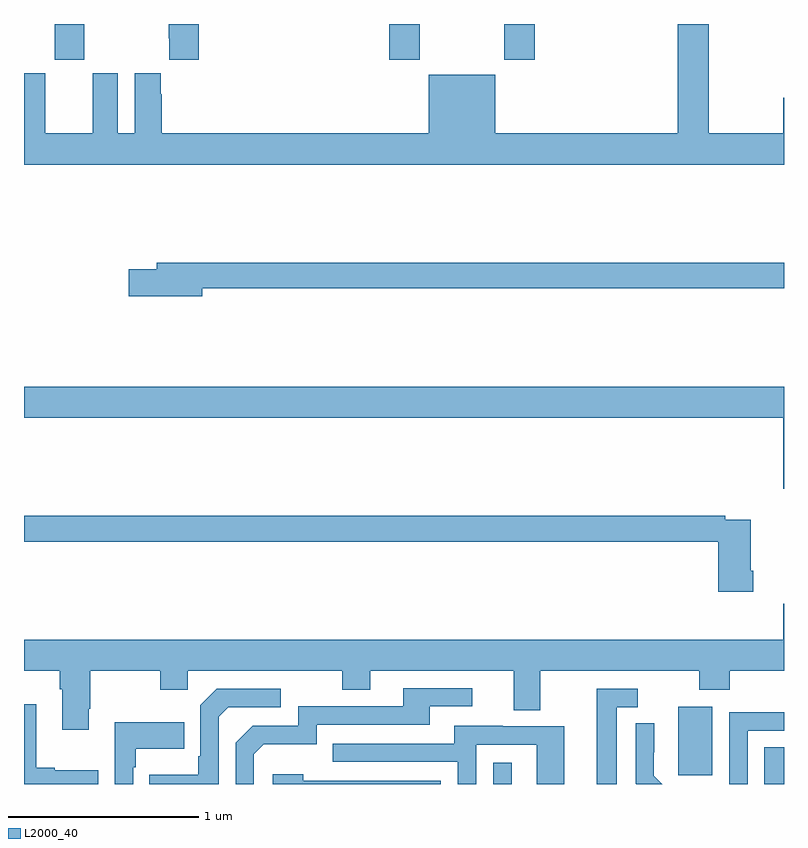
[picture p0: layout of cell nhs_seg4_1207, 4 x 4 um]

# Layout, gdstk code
import gdstk
lib = gdstk.Library(unit=1e-6, precision=1e-09)
def R(c, l, rs):  # rectangles x0, y0, x1, y1
    for r in rs: c.add(gdstk.rectangle(r[:2], r[2:], *l))
def P(c, l, *ps):  # polygons
    for p in ps: c.add(gdstk.Polygon(p, *l))
L2000_40 = (2000, 40)

nhs_seg4_1207 = lib.new_cell('nhs_seg4_1207')
R(nhs_seg4_1207, L2000_40, [(175.47,786.9,175.567,787.012), (176.897,786.9,177,787.094), (176.444,786.945,176.623,787.306), (173.161,790.713,173.316,790.9), (174.923,790.713,175.083,790.9), (175.528,790.713,175.688,790.9)])
P(nhs_seg4_1207, L2000_40, [(177,790.513),(176.996,790.513),(176.996,790.324),(176.605,790.324),(176.605,790.9),(176.441,790.9),(176.441,790.324),(175.48,790.324),(175.48,790.633),(175.13,790.633),(175.13,790.324),(173.726,790.324),(173.726,790.529),(173.719,790.529),(173.719,790.642),(173.582,790.642),(173.582,790.324),(173.494,790.324),(173.494,790.642),(173.363,790.642),(173.363,790.324),(173.113,790.324),(173.113,790.642),(173,790.642),(173,790.16),(177,790.16)],
  [(173.921,790.9),(173.761,790.9),(173.761,790.825),(173.765,790.825),(173.765,790.713),(173.921,790.713)],
  [(173.938,789.508),(177,789.508),(177,789.644),(173.699,789.644),(173.699,789.608),(173.55,789.608),(173.55,789.466),(173.938,789.466)],
  [(177,788.992),(173,788.992),(173,788.828),(176.996,788.828),(176.996,788.454),(177,788.454)],
  [(176.837,788.023),(176.824,788.023),(176.824,788.292),(176.69,788.292),(176.69,788.312),(173,788.312),(173,788.176),(176.654,788.176),(176.654,787.911),(176.837,787.911)],
  [(173.341,787.297),(173.349,787.297),(173.349,787.496),(173.716,787.496),(173.716,787.397),(173.862,787.397),(173.862,787.496),(174.676,787.496),(174.676,787.397),(174.823,787.397),(174.823,787.496),(175.577,787.496),(175.577,787.288),(175.717,787.288),(175.717,787.496),(176.554,787.496),(176.554,787.397),(176.714,787.397),(176.714,787.496),(177,787.496),(177,787.849),(176.996,787.849),(176.996,787.66),(173,787.66),(173,787.496),(173.189,787.496),(173.189,787.4),(173.201,787.4),(173.201,787.185),(173.341,787.185)],
  [(174.21,787.056),(174.263,787.109),(174.54,787.109),(174.54,787.212),(175.135,787.212),(175.135,787.308),(175.36,787.308),(175.36,787.404),(174.995,787.404),(174.995,787.308),(174.444,787.308),(174.444,787.206),(174.204,787.206),(174.114,787.116),(174.114,786.9),(174.21,786.9)],
  [(176.119,787.305),(176.23,787.305),(176.23,787.401),(176.015,787.401),(176.015,786.9),(176.119,786.9)],
  [(174.024,787.254),(174.075,787.305),(174.352,787.305),(174.352,787.401),(174.015,787.401),(173.928,787.314),(173.928,787.045),(173.916,787.045),(173.916,786.949),(173.659,786.949),(173.659,786.9),(174.024,786.9)],
  [(173.392,786.973),(173.161,786.973),(173.161,786.986),(173.065,786.986),(173.065,787.321),(173,787.321),(173,786.9),(173.392,786.9)],
  [(176.808,787.179),(177,787.179),(177,787.278),(176.712,787.278),(176.712,786.9),(176.808,786.9)],
  [(173.574,786.989),(173.587,786.989),(173.587,787.085),(173.843,787.085),(173.843,787.225),(173.478,787.225),(173.478,786.9),(173.574,786.9)],
  [(176.315,786.944),(176.315,787.066),(176.316,787.066),(176.316,787.22),(176.22,787.22),(176.22,786.902),(176.222,786.9),(176.358,786.9)],
  [(175.38,787.107),(175.698,787.107),(175.698,786.9),(175.843,786.9),(175.843,787.203),(175.519,787.203),(175.519,787.207),(175.265,787.207),(175.265,787.113),(174.625,787.113),(174.625,787.017),(175.284,787.017),(175.284,786.9),(175.38,786.9)],
  [(175.194,786.918),(174.47,786.918),(174.47,786.952),(174.309,786.952),(174.309,786.9),(175.194,786.9)])

lib.write_gds('nhs_seg4_1207.gds')
